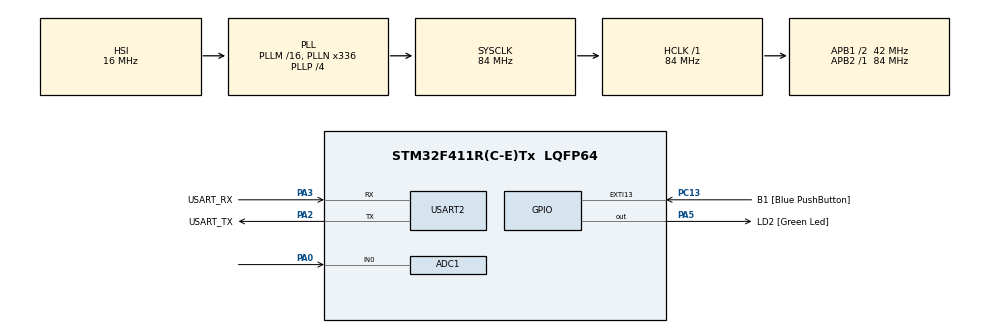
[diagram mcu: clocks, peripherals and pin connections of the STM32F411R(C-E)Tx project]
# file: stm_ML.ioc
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ADC1.Channel-0\#ChannelRegularConversion=ADC_CHANNEL_0
ADC1.NbrOfConversionFlag=1
ADC1.Rank-0\#ChannelRegularConversion=1
ADC1.Resolution=ADC_RESOLUTION_10B
ADC1.SamplingTime-0\#ChannelRegularConversion=ADC_SAMPLETIME_3CYCLES
ADC1.master=1
Mcu.Family=STM32F4
Mcu.Name=STM32F411R(C-E)Tx
Mcu.Package=LQFP64
NVIC.ADC_IRQn=true\:0\:0\:false\:false\:true\:true\:true\:true
NVIC.PriorityGroup=NVIC_PRIORITYGROUP_0
PA0-WKUP.Signal=ADCx_IN0
PA13.GPIO_Label=TMS
PA13.Mode=Serial_Wire
PA13.Signal=SYS_JTMS-SWDIO
PA14.GPIO_Label=TCK
PA14.Mode=Serial_Wire
PA14.Signal=SYS_JTCK-SWCLK
PA2.GPIO_Label=USART_TX
PA2.Mode=Asynchronous
PA2.Signal=USART2_TX
PA3.GPIO_Label=USART_RX
PA3.Mode=Asynchronous
PA3.Signal=USART2_RX
PA5.GPIO_Label=LD2 [Green Led]
PA5.Signal=GPIO_Output
PB3.GPIO_Label=SWO
PB3.Signal=SYS_JTDO-SWO
PC13-ANTI_TAMP.GPIO_Label=B1 [Blue PushButton]
PC13-ANTI_TAMP.GPIO_ModeDefaultEXTI=GPIO_MODE_IT_FALLING
PC13-ANTI_TAMP.Signal=GPXTI13
PC14-OSC32_IN.Mode=LSE-External-Oscillator
PC14-OSC32_IN.Signal=RCC_OSC32_IN
PC15-OSC32_OUT.Mode=LSE-External-Oscillator
PC15-OSC32_OUT.Signal=RCC_OSC32_OUT
PH0\ -\ OSC_IN.Mode=HSE-External-Clock-Source
PH0\ -\ OSC_IN.Signal=RCC_OSC_IN
PH1\ -\ OSC_OUT.Mode=HSE-External-Clock-Source
PH1\ -\ OSC_OUT.Signal=RCC_OSC_OUT
ProjectManager.HeapSize=0x200
ProjectManager.StackSize=0x400
ProjectManager.TargetToolchain=STM32CubeIDE
RCC.48MHZClocksFreq_Value=84000000
RCC.AHBFreq_Value=84000000
RCC.APB1CLKDivider=RCC_HCLK_DIV2
RCC.APB1Freq_Value=42000000
RCC.APB1TimFreq_Value=84000000
RCC.APB2Freq_Value=84000000
RCC.APB2TimFreq_Value=84000000
RCC.CortexFreq_Value=84000000
RCC.FLatency-AdvancedSettings=FLASH_LATENCY_2
RCC.HCLKFreq_Value=84000000
RCC.HSE_VALUE=8000000
RCC.HSI_VALUE=16000000
RCC.PLLN=336
RCC.PLLP=RCC_PLLP_DIV4
RCC.SYSCLKFreq_VALUE=84000000
RCC.SYSCLKSource=RCC_SYSCLKSOURCE_PLLCLK
RCC.VCOOutputFreq_Value=336000000
SH.ADCx_IN0.0=ADC1_IN0,IN0
USART2.VirtualMode=VM_ASYNC
board=NUCLEO-F411RE

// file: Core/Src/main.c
/* USER CODE BEGIN Header */
/**
  ******************************************************************************
  * @file           : main.c
  * @brief          : Main program body
  ******************************************************************************
  * @attention
  *
  * Copyright (c) 2024 STMicroelectronics.
  * All rights reserved.
  *
  * This software is licensed under terms that can be found in the LICENSE file
  * in the root directory of this software component.
  * If no LICENSE file comes with this software, it is provided AS-IS.
  *
  ******************************************************************************
  */
/* USER CODE END Header */
#include "main.h"
#include "string.h"
#include "stdio.h"

/* USER CODE BEGIN PM */
#define DATA_INPUT_USER 256
#define AXIS_NUMBER 1
/* USER CODE END PM */

ADC_HandleTypeDef hadc1;

UART_HandleTypeDef huart2;

/* USER CODE BEGIN PV */
float mic;
float mic_buffer[DATA_INPUT_USER * AXIS_NUMBER] = {0};
/* USER CODE END PV */

void SystemClock_Config(void);
static void MX_GPIO_Init(void);
static void MX_USART2_UART_Init(void);
static void MX_ADC1_Init(void);
/* USER CODE BEGIN PFP */
void fill_mic_buffer();
void log();
/* USER CODE END PFP */

/* USER CODE BEGIN 0 */
void HAL_ADC_ConvCpltCallback(ADC_HandleTypeDef *hadc){
	mic = HAL_ADC_GetValue(&hadc1);
}
/* USER CODE END 0 */

int main(void)
{

  /* MCU Configuration--------------------------------------------------------*/

  /* Reset of all peripherals, Initializes the Flash interface and the Systick. */
  HAL_Init();

  /* Configure the system clock */
  SystemClock_Config();

  /* Initialize all configured peripherals */
  MX_GPIO_Init();
  MX_USART2_UART_Init();
  MX_ADC1_Init();
  /* USER CODE BEGIN 2 */
  HAL_ADC_Start_IT(&hadc1);
  /* USER CODE END 2 */

  /* Infinite loop */
  while (1)
  {
	  log();
  }
}

void SystemClock_Config(void)
{
  RCC_OscInitTypeDef RCC_OscInitStruct = {0};
  RCC_ClkInitTypeDef RCC_ClkInitStruct = {0};

  /** Configure the main internal regulator output voltage
  */
  __HAL_RCC_PWR_CLK_ENABLE();
  __HAL_PWR_VOLTAGESCALING_CONFIG(PWR_REGULATOR_VOLTAGE_SCALE1);

  /** Initializes the RCC Oscillators according to the specified parameters
  * in the RCC_OscInitTypeDef structure.
  */
  RCC_OscInitStruct.OscillatorType = RCC_OSCILLATORTYPE_HSI;
  RCC_OscInitStruct.HSIState = RCC_HSI_ON;
  RCC_OscInitStruct.HSICalibrationValue = RCC_HSICALIBRATION_DEFAULT;
  RCC_OscInitStruct.PLL.PLLState = RCC_PLL_ON;
  RCC_OscInitStruct.PLL.PLLSource = RCC_PLLSOURCE_HSI;
  RCC_OscInitStruct.PLL.PLLM = 16;
  RCC_OscInitStruct.PLL.PLLN = 336;
  RCC_OscInitStruct.PLL.PLLP = RCC_PLLP_DIV4;
  RCC_OscInitStruct.PLL.PLLQ = 4;
  if (HAL_RCC_OscConfig(&RCC_OscInitStruct) != HAL_OK)
  {
    Error_Handler();
  }

  /** Initializes the CPU, AHB and APB buses clocks
  */
  RCC_ClkInitStruct.ClockType = RCC_CLOCKTYPE_HCLK|RCC_CLOCKTYPE_SYSCLK
                              |RCC_CLOCKTYPE_PCLK1|RCC_CLOCKTYPE_PCLK2;
  RCC_ClkInitStruct.SYSCLKSource = RCC_SYSCLKSOURCE_PLLCLK;
  RCC_ClkInitStruct.AHBCLKDivider = RCC_SYSCLK_DIV1;
  RCC_ClkInitStruct.APB1CLKDivider = RCC_HCLK_DIV2;
  RCC_ClkInitStruct.APB2CLKDivider = RCC_HCLK_DIV1;

  if (HAL_RCC_ClockConfig(&RCC_ClkInitStruct, FLASH_LATENCY_2) != HAL_OK)
  {
    Error_Handler();
  }
}

static void MX_ADC1_Init(void)
{

  ADC_ChannelConfTypeDef sConfig = {0};

  /** Configure the global features of the ADC (Clock, Resolution, Data Alignment and number of conversion)
  */
  hadc1.Instance = ADC1;
  hadc1.Init.ClockPrescaler = ADC_CLOCK_SYNC_PCLK_DIV4;
  hadc1.Init.Resolution = ADC_RESOLUTION_10B;
  hadc1.Init.ScanConvMode = DISABLE;
  hadc1.Init.ContinuousConvMode = DISABLE;
  hadc1.Init.DiscontinuousConvMode = DISABLE;
  hadc1.Init.ExternalTrigConvEdge = ADC_EXTERNALTRIGCONVEDGE_NONE;
  hadc1.Init.ExternalTrigConv = ADC_SOFTWARE_START;
  hadc1.Init.DataAlign = ADC_DATAALIGN_RIGHT;
  hadc1.Init.NbrOfConversion = 1;
  hadc1.Init.DMAContinuousRequests = DISABLE;
  hadc1.Init.EOCSelection = ADC_EOC_SINGLE_CONV;
  if (HAL_ADC_Init(&hadc1) != HAL_OK)
  {
    Error_Handler();
  }

  /** Configure for the selected ADC regular channel its corresponding rank in the sequencer and its sample time.
  */
  sConfig.Channel = ADC_CHANNEL_0;
  sConfig.Rank = 1;
  sConfig.SamplingTime = ADC_SAMPLETIME_3CYCLES;
  if (HAL_ADC_ConfigChannel(&hadc1, &sConfig) != HAL_OK)
  {
    Error_Handler();
  }

}

static void MX_USART2_UART_Init(void)
{

  huart2.Instance = USART2;
  huart2.Init.BaudRate = 115200;
  huart2.Init.WordLength = UART_WORDLENGTH_8B;
  huart2.Init.StopBits = UART_STOPBITS_1;
  huart2.Init.Parity = UART_PARITY_NONE;
  huart2.Init.Mode = UART_MODE_TX_RX;
  huart2.Init.HwFlowCtl = UART_HWCONTROL_NONE;
  huart2.Init.OverSampling = UART_OVERSAMPLING_16;
  if (HAL_UART_Init(&huart2) != HAL_OK)
  {
    Error_Handler();
  }

}

static void MX_GPIO_Init(void)
{
  GPIO_InitTypeDef GPIO_InitStruct = {0};

  /* GPIO Ports Clock Enable */
  __HAL_RCC_GPIOC_CLK_ENABLE();
  __HAL_RCC_GPIOH_CLK_ENABLE();
  __HAL_RCC_GPIOA_CLK_ENABLE();
  __HAL_RCC_GPIOB_CLK_ENABLE();

  /*Configure GPIO pin Output Level */
  HAL_GPIO_WritePin(LD2_GPIO_Port, LD2_Pin, GPIO_PIN_RESET);

  /*Configure GPIO pin : B1_Pin */
  GPIO_InitStruct.Pin = B1_Pin;
  GPIO_InitStruct.Mode = GPIO_MODE_IT_FALLING;
  GPIO_InitStruct.Pull = GPIO_NOPULL;
  HAL_GPIO_Init(B1_GPIO_Port, &GPIO_InitStruct);

  /*Configure GPIO pin : LD2_Pin */
  GPIO_InitStruct.Pin = LD2_Pin;
  GPIO_InitStruct.Mode = GPIO_MODE_OUTPUT_PP;
  GPIO_InitStruct.Pull = GPIO_NOPULL;
  GPIO_InitStruct.Speed = GPIO_SPEED_FREQ_LOW;
  HAL_GPIO_Init(LD2_GPIO_Port, &GPIO_InitStruct);

}

/* USER CODE BEGIN 4 */
void fill_mic_buffer(){
	for (int i=0; i< DATA_INPUT_USER; i++){
		HAL_ADC_Start_IT(&hadc1);
		mic_buffer[AXIS_NUMBER * i] = mic;
		HAL_Delay(3);
	}
}
void log(){
	fill_mic_buffer();
	for (int i=0; i< DATA_INPUT_USER; i++){
		printf("%.2f", mic_buffer[AXIS_NUMBER * i]);
		printf(" ");
	}
	printf("\r\n");
}
int __io_putchar(int ch){
	HAL_UART_Transmit(&huart2, (uint8_t *)&ch, 1, HAL_MAX_DELAY);
	return ch;
}
/* USER CODE END 4 */

void Error_Handler(void)
{
  __disable_irq();
  while (1)
  {
  }
}
